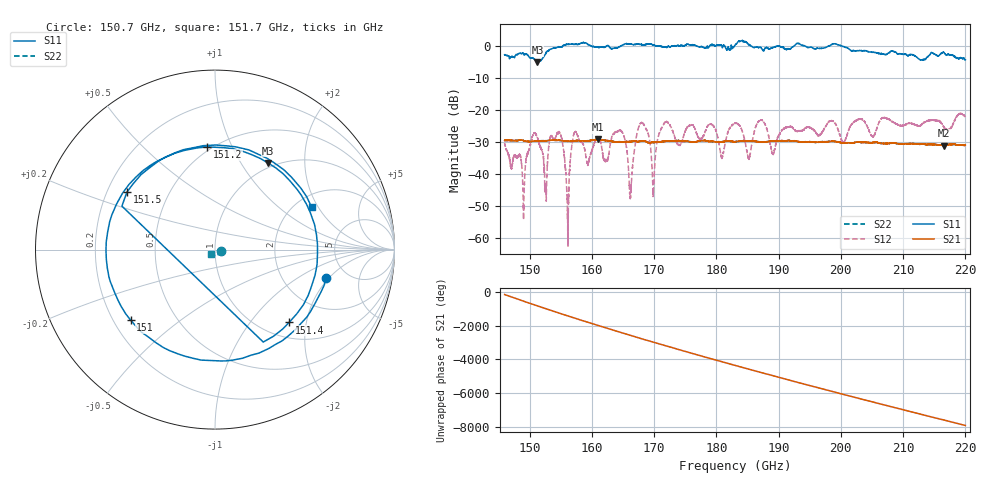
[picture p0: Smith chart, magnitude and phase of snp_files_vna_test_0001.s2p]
# GHz S RI R 50.0
!freq ReS11 ImS11 ReS21 ImS21 ReS12 ImS12 ReS22 ImS22
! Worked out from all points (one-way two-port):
!   8001 points, 146 GHz to 220 GHz, reference 50 ohm
!   highest |S21| = -29.16 dB at 160.9 GHz (marker M1); lowest = -31.1 dB at 216.6 GHz (marker M2)
!   lowest |S11| = -4.9 dB at 151.3 GHz (marker M3), VSWR 3.61, Z = 46.6 + j66.2 ohm
!   |S11| at or under -10 dB: nowhere
!   |S22| runs from -31.1 to -29.2 dB; largest |S21 - S12| = 0.12
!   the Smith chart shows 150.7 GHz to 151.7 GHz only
!   S11 on the Smith chart (normalised r, x): 150.7 GHz: 3.45, -1.85; 151 GHz: 0.27, -0.34; 151.2 GHz: 0.47, +0.81; 151.4 GHz: 1.30, -1.59; 151.5 GHz: 0.28, +0.28; 151.7 GHz: 2.44, +1.76
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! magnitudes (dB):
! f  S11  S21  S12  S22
! 146 GHz  -2.6  -29.5  -30.3  -29.5
! 149.1 GHz  -2.3  -29.5  -51.3  -29.5
! 150.7 GHz  -3.9  -29.7  -27.2  -29.7
! 151 GHz  -4.3  -29.6  -27.4  -29.6
! 151.2 GHz  -4.8  -29.6  -28.4  -29.6
! 151.3 GHz  -4.9  -29.5  -28.5  -29.5
! 151.4 GHz  -4.7  -29.6  -29.6  -29.6
! 151.5 GHz  -4.6  -29.6  -30.0  -29.6
! 151.7 GHz  -4.6  -29.6  -31.3  -29.6
! 154.9 GHz  -0.2  -29.4  -27.1  -29.4
! 156.1 GHz  0.6  -29.7  -51.2  -29.7
! 158.3 GHz  1.1  -29.6  -29.9  -29.6
! 160.9 GHz  -0.2  -29.2  -28.4  -29.2
! 164.8 GHz  0.2  -29.9  -26.7  -29.9
! 166.2 GHz  0.8  -29.8  -46.3  -29.8
! 167.8 GHz  0.6  -29.8  -24.3  -29.8
! 170.7 GHz  0.1  -29.9  -28.3  -29.9
! 183 GHz  0.4  -29.8  -24.1  -29.8
! 195.3 GHz  -0.3  -29.9  -25.8  -29.9
! 207.7 GHz  -2.0  -30.4  -22.8  -30.4
! 216.6 GHz  -2.0  -31.1  -25.3  -31.1
! 220 GHz  -4.2  -31.0  -22.0  -31.0
